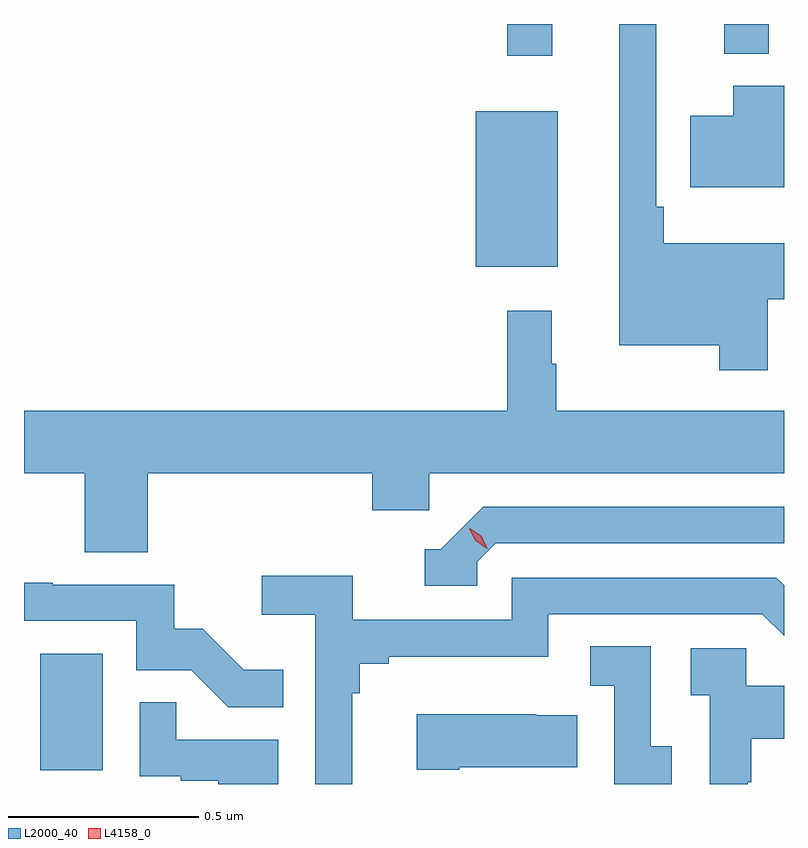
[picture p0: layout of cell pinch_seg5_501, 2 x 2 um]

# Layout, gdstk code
import gdstk
lib = gdstk.Library(unit=1e-6, precision=1e-09)
def R(c, l, rs):  # rectangles x0, y0, x1, y1
    for r in rs: c.add(gdstk.rectangle(r[:2], r[2:], *l))
def P(c, l, *ps):  # polygons
    for p in ps: c.add(gdstk.Polygon(p, *l))
L2000_40 = (2000, 40)
L4158_0 = (4158, 0)

pinch_seg5_501 = lib.new_cell('pinch_seg5_501')
R(pinch_seg5_501, L2000_40, [(923.228,841.326,923.392,841.633), (924.374,842.651,924.589,843.061), (924.457,843.207,924.575,843.29), (925.028,843.212,925.145,843.29)])
P(pinch_seg5_501, L2000_40, [(925.142,842.566),(925.185,842.566),(925.185,842.713),(924.869,842.713),(924.869,842.809),(924.849,842.809),(924.849,843.29),(924.752,843.29),(924.752,842.444),(925.014,842.444),(925.014,842.379),(925.142,842.379)],
  [(925.185,843.127),(925.052,843.127),(925.052,843.049),(924.938,843.049),(924.938,842.861),(925.185,842.861)],
  [(923.51,842.108),(924.101,842.108),(924.101,842.01),(924.252,842.01),(924.252,842.108),(925.185,842.108),(925.185,842.272),(924.586,842.272),(924.586,842.396),(924.574,842.396),(924.574,842.536),(924.457,842.536),(924.457,842.272),(923.185,842.272),(923.185,842.108),(923.345,842.108),(923.345,841.9),(923.51,841.9)],
  [(924.378,841.875),(924.426,841.923),(925.185,841.923),(925.185,842.019),(924.393,842.019),(924.282,841.908),(924.239,841.908),(924.239,841.812),(924.378,841.812)],
  [(924.049,841.529),(924.068,841.529),(924.068,841.606),(924.145,841.606),(924.145,841.625),(924.564,841.625),(924.564,841.737),(925.128,841.737),(925.185,841.68),(925.185,841.813),(925.165,841.833),(924.468,841.833),(924.468,841.722),(924.05,841.722),(924.05,841.838),(923.811,841.838),(923.811,841.736),(923.952,841.736),(923.952,841.29),(924.049,841.29)],
  [(923.867,841.591),(923.763,841.591),(923.656,841.698),(923.58,841.698),(923.58,841.815),(923.261,841.815),(923.261,841.82),(923.185,841.82),(923.185,841.719),(923.481,841.719),(923.481,841.59),(923.625,841.59),(923.723,841.492),(923.867,841.492)],
  [(924.889,841.389),(924.834,841.389),(924.834,841.652),(924.675,841.652),(924.675,841.549),(924.738,841.549),(924.738,841.29),(924.889,841.29)],
  [(925.089,841.295),(925.099,841.295),(925.099,841.409),(925.185,841.409),(925.185,841.549),(925.086,841.549),(925.086,841.647),(924.939,841.647),(924.939,841.523),(924.99,841.523),(924.99,841.29),(925.089,841.29)],
  [(923.854,841.407),(923.585,841.407),(923.585,841.505),(923.49,841.505),(923.49,841.311),(923.597,841.311),(923.597,841.299),(923.696,841.299),(923.696,841.29),(923.854,841.29)],
  [(924.331,841.334),(924.641,841.334),(924.641,841.471),(924.533,841.471),(924.533,841.474),(924.219,841.474),(924.219,841.327),(924.331,841.327)])
P(pinch_seg5_501, L4158_0, [(924.403,841.91),(924.373,841.93),(924.357,841.963),(924.357,841.963),(924.358,841.963),(924.388,841.943),(924.404,841.91),(924.404,841.91)])

lib.write_gds('pinch_seg5_501.gds')
